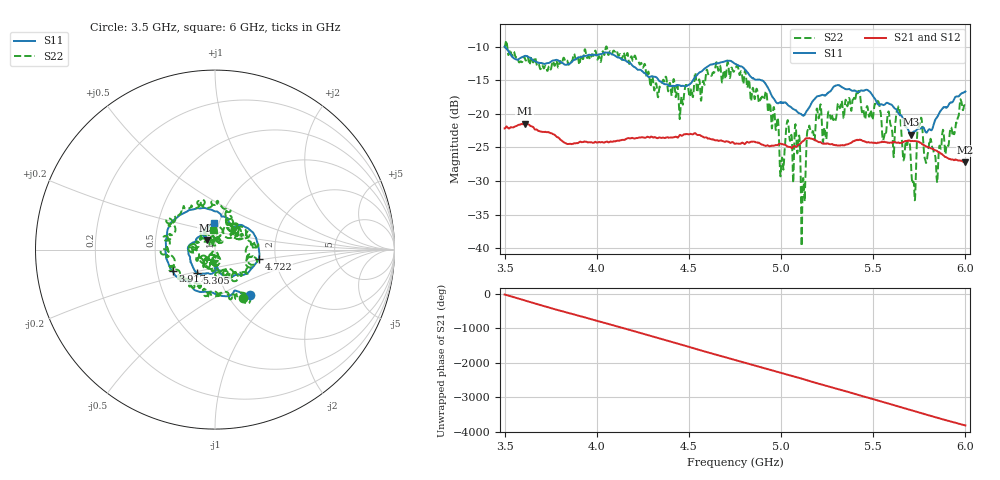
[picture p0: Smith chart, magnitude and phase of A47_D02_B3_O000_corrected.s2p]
! Created with skrf 1.9.0 (http://scikit-rf.org).
# Hz S RI R 50.0
!freq ReS11 ImS11 ReS21 ImS21 ReS12 ImS12 ReS22 ImS22
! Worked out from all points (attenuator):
!   1601 points, 3.5 GHz to 6 GHz, reference 50 ohm
!   highest |S21| = -21.47 dB at 3.609 GHz (marker M1); lowest = -27.2 dB at 6 GHz (marker M2)
!   lowest |S11| = -23.1 dB at 5.703 GHz (marker M3), VSWR 1.15, Z = 45.4 + j4.82 ohm
!   |S11| at or under -10 dB: 3.502 GHz to end of sweep
!   |S22| runs from -39.7 to -9.1 dB; largest |S21 - S12| = 0.0009
!   S11 on the Smith chart (normalised r, x): 3.5 GHz: 1.25, -0.71; 3.917 GHz: 0.60, -0.16; 4.722 GHz: 1.63, -0.18; 5.305 GHz: 0.79, -0.21; 6 GHz: 0.95, +0.28
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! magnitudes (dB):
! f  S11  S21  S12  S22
! 3.5 GHz  -9.9  -22.2  -22.1  -10.2
! 3.609 GHz  -11.4  -21.5  -21.5  -11.7
! 3.917 GHz  -11.5  -24.2  -24.2  -11.2
! 4.334 GHz  -14.9  -23.6  -23.5  -17.3
! 4.458 GHz  -15.8  -23.2  -23.2  -17.8
! 4.722 GHz  -12.1  -24.3  -24.3  -14.7
! 4.75 GHz  -12.5  -24.5  -24.4  -13.2
! 4.927 GHz  -16.0  -24.7  -24.7  -18.7
! 5.005 GHz  -18.3  -24.5  -24.5  -26.5
! 5.033 GHz  -18.5  -24.8  -24.8  -21.2
! 5.088 GHz  -19.7  -24.8  -24.8  -25.9
! 5.119 GHz  -20.2  -24.1  -24.0  -29.6
! 5.147 GHz  -19.3  -23.6  -23.6  -22.5
! 5.167 GHz  -18.3  -23.7  -23.7  -22.8
! 5.305 GHz  -15.7  -24.7  -24.6  -19.1
! 5.584 GHz  -18.5  -24.3  -24.3  -19.6
! 5.638 GHz  -19.9  -24.3  -24.2  -18.8
! 5.703 GHz  -23.1  -24.1  -24.0  -26.4
! 5.72 GHz  -22.6  -24.1  -24.0  -30.3
! 5.755 GHz  -22.2  -24.3  -24.2  -21.1
! 5.844 GHz  -20.6  -25.5  -25.5  -29.5
! 6 GHz  -16.7  -27.2  -27.1  -19.2
